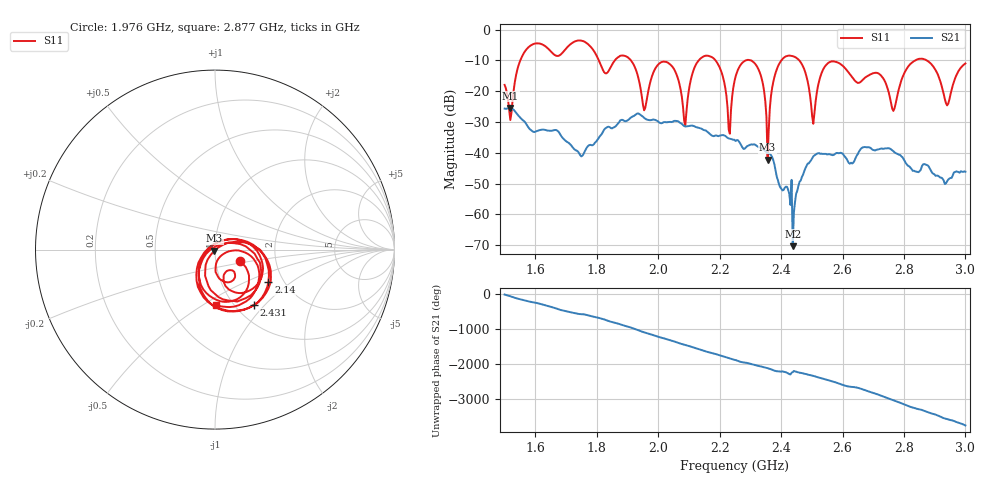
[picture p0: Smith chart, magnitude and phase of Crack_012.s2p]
# HZ S RI R 50
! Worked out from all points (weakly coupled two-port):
!   404 points, 1.5 GHz to 3 GHz, reference 50 ohm
!   highest |S21| = -25.40 dB at 1.519 GHz (marker M1); lowest = -70.3 dB at 2.438 GHz (marker M2)
!   lowest |S11| = -42.2 dB at 2.356 GHz (marker M3), VSWR 1.02, Z = 49.6 - j0.649 ohm
!   |S11| at or under -10 dB: 1.911 GHz to 2.132 GHz (220.6 MHz wide, 10.9 % of centre); 2.459 GHz to 2.837 GHz (377.4 MHz wide, 14.3 % of centre); 2.874 GHz to end of sweep (the widest 3 of 7)
!   S12 and S22 are empty: the file has one direction only
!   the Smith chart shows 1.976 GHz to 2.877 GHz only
!   S11 on the Smith chart (normalised r, x): 1.976 GHz: 1.31, -0.18; 2.14 GHz: 1.67, -0.68; 2.431 GHz: 1.21, -0.87; 2.877 GHz: 0.84, -0.57
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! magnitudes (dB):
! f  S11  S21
! 1.5 GHz  -17.9  -25.6
! 1.519 GHz  -29.4  -25.4
! 1.578 GHz  -5.7  -31.9
! 1.753 GHz  -3.7  -41.0
! 1.954 GHz  -26.2  -28.6
! 1.976 GHz  -16.2  -29.4
! 2.002 GHz  -11.1  -30.1
! 2.088 GHz  -31.2  -31.5
! 2.14 GHz  -9.2  -32.1
! 2.2 GHz  -12.2  -34.4
! 2.23 GHz  -32.5  -35.3
! 2.252 GHz  -15.3  -36.2
! 2.319 GHz  -11.5  -37.6
! 2.356 GHz  -42.2  -40.1
! 2.431 GHz  -8.5  -57.0
! 2.438 GHz  -8.6  -70.3
! 2.501 GHz  -28.2  -41.8
! 2.565 GHz  -10.3  -40.7
! 2.751 GHz  -20.4  -38.5
! 2.877 GHz  -10.2  -44.1
! 2.94 GHz  -24.6  -49.2
! 3 GHz  -11.0  -46.1
